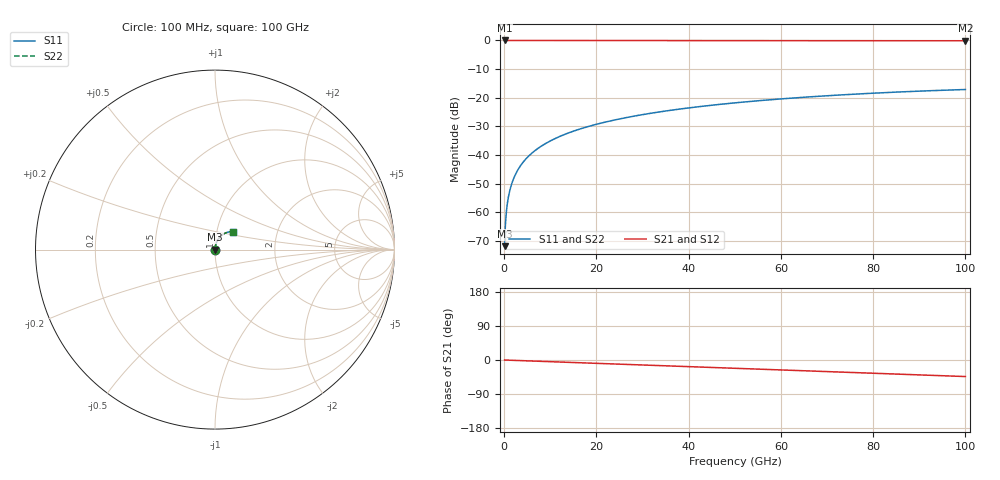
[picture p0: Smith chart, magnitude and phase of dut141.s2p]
! Touchstone file exported from HFSS 2026.1.0
!  File:  C:/ffzhzh/LocalFiles/Ansys_Project_Files/temp_train_TSV_141_1783506448_31944.aedt
!  Generated:  06:28:47 PM Jul  8, 2026
!  Design:  TSV
!  Project:  temp_train_TSV_141_1783506448_31944
! Variables:
!  h_bsmrdl = 2um
!  h_ox = 20um
!  h_rdl = 5um
!  h_sub = 84um
!  h_tmrdl = 5um
!  h_tsv = 84um
!  h_via = 3um
!  l_bsmrdl = 300um
!  l_sub = 419.36um
!  l_tmrdl = 200um
!  m_sub = 200um
!  pitch = 51.36um
!  r_tsv = 9.68um
!  s_tmrdl = 10um
!  w_bsmrdl = 18um
!  w_sub = 500um
!  w_tmrdl = 12um
!  x_tsv_center1 = 206um
!  x_tsv_center2 = 524um
!  x_tsv_center3 = 736um
!  x_tsv_center4 = 1054um
!  x_tsv_center5 = 1266um
!  x_tsv_center6 = 1584um
# GHz S MA R 50.000000
! Terminal data exported
! Port[1] = TSV1_1_T1
! Port[2] = TSV1_1_T2
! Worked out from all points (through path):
!   1000 points, 100 MHz to 100 GHz, reference 50 ohm
!   highest |S21| = 0.00 dB at 100 MHz (marker M1); lowest = -0.1 dB at 100 GHz (marker M2)
!   group delay of S21, straight-line fit = 1.21 ps
!   lowest |S11| = -71.9 dB at 100 MHz (marker M3), VSWR 1.00, Z = 50 + j0.0215 ohm
!   |S11| at or under -10 dB: start of sweep to end of sweep
!   |S22| runs from -71.9 to -17.1 dB; largest |S21 - S12| = 8.4e-15
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0.1  0.0002545 57.6  0.9999 -0.0  0.9999 -0.0  0.0002545 57.6
! Gamma 0 0 0 0
! Port Impedance 50 0 50 0
0.3  0.0006542 75.1  0.9998 -0.1  0.9998 -0.1  0.0006542 75.1
0.7  0.001426 79.7  0.9998 -0.3  0.9998 -0.3  0.001426 79.7
0.8  0.001611 80.1  0.9997 -0.4  0.9997 -0.4  0.001611 80.1
1  0.001977 80.9  0.9997 -0.5  0.9997 -0.5  0.001977 80.9
1.3  0.002518 81.7  0.9997 -0.6  0.9997 -0.6  0.002518 81.7
1.7  0.003235 82.4  0.9996 -0.8  0.9996 -0.8  0.003235 82.4
2.3  0.0043 83.0  0.9995 -1.0  0.9995 -1.0  0.0043 83.0
3  0.00553 83.3  0.9995 -1.3  0.9995 -1.3  0.00553 83.3
3.8  0.006924 83.5  0.9994 -1.7  0.9994 -1.7  0.006924 83.5
4.8  0.008653 83.5  0.9993 -2.1  0.9993 -2.1  0.008653 83.5
6  0.01072 83.5  0.9992 -2.7  0.9992 -2.7  0.01072 83.5
8.8  0.01551 82.9  0.999 -3.9  0.999 -3.9  0.01551 82.9
12.4  0.02161 81.7  0.9987 -5.5  0.9987 -5.5  0.02161 81.7
16.8  0.02899 80.1  0.9983 -7.4  0.9983 -7.4  0.02899 80.1
24.2  0.04121 77.3  0.9977 -10.7  0.9977 -10.7  0.04121 77.3
33.4  0.056 73.6  0.9967 -14.7  0.9967 -14.7  0.056 73.6
41.2  0.06811 70.3  0.9958 -18.1  0.9958 -18.1  0.06811 70.3
50.1  0.08133 66.6  0.9946 -22.0  0.9946 -22.0  0.08133 66.6
66.7  0.104 59.5  0.9921 -29.2  0.9921 -29.2  0.104 59.6
83.4  0.1235 52.4  0.9896 -36.5  0.9896 -36.5  0.1235 52.4
100  0.139 45.4  0.9872 -43.7  0.9872 -43.7  0.139 45.4
